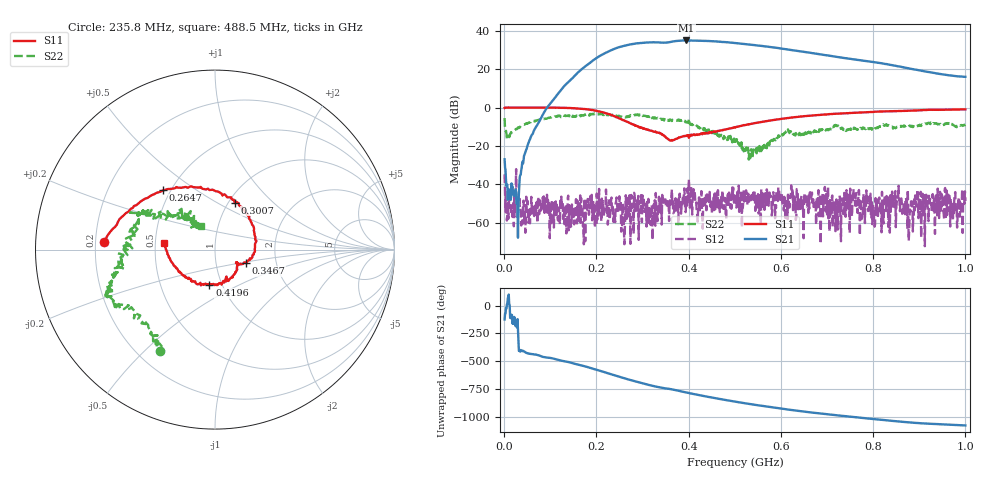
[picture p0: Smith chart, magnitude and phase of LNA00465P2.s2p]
! Created with skrf 1.9.0 (http://scikit-rf.org).
# Hz S RI R 50.0
!freq ReS11 ImS11 ReS21 ImS21 ReS12 ImS12 ReS22 ImS22
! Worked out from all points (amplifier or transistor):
!   1001 points, 1 MHz to 1 GHz, reference 50 ohm
!   highest |S21| = 35.0 dB at 394.6 MHz (marker M1)
!   |S21| within 3 dB of that: 256.7 MHz to 563 MHz (306.3 MHz wide, 74.7 % of centre)
!   unconditionally stable (mu >= 1): 24.07 MHz to 41.87 MHz; 221.3 MHz to 400.2 MHz; 401 MHz to end of sweep (the widest 3 of 40)
!   at 166.8 MHz: K = 0.64, MSG = 33.4 dB, |S12| = -47.1 dB
!   at 500.5 MHz: K = 1.86, MAG = 34.2 dB, |S12| = -45.3 dB
!   at 1 GHz: K = 3.54, MAG = 23.9 dB, |S12| = -48.6 dB
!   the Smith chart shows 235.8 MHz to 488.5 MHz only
!   S11 on the Smith chart (normalised r, x): 235.8 MHz: 0.24, +0.03; 264.7 MHz: 0.46, +0.37; 300.7 MHz: 1.07, +0.61; 346.7 MHz: 1.40, -0.22; 419.6 MHz: 0.87, -0.36; 488.5 MHz: 0.56, +0.04
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1000000  0.979 -0.00726  -0.0253 -0.0372  -0.0154 0.00995  0.3983 0.3508
1.08892e8  0.5213 -0.8471  -0.8091 -1.531  0.00275 -0.00192  0.4338 -0.374
1.67833e8  -0.2287 -0.9013  -9.934 -0.5693  0.000574 -0.00173  0.0417 -0.6363
2.06794e8  -0.6587 -0.4392  -16.02 15.04  0.000775 0.00196  -0.1705 -0.6462
2.35765e8  -0.6161 0.0436  -5.171 32.32  -0.00221 -0.000481  -0.3044 -0.5677
2.64736e8  -0.2897 0.3304  18.68 37.54  -0.00241 0.00131  -0.4456 -0.3498
2.82718e8  -0.0713 0.3396  34.15 30.85  -0.00528 -0.0015  -0.5659 -0.2831
3.007e8  0.1103 0.2613  45.01 18.33  1.86e-05 -0.00245  -0.5751 -0.1828
3.34666e8  0.222 -0.00145  48.81 -10.01  -0.00145 0.00111  -0.5107 -0.0297
3.46654e8  0.1723 -0.0743  45.78 -17.19  -0.00203 0.00339  -0.4603 0.00718
3.7063e8  0.1227 -0.0834  42.99 -32.47  -0.000492 0.00235  -0.4301 0.1605
3.94606e8  0.0802 -0.167  28.57 -48.19  0.0021 0.00425  -0.3837 0.1893
4.19581e8  -0.0311 -0.1957  9.286 -54.81  -0.000874 0.000615  -0.2614 0.2008
4.5055e8  -0.1823 -0.1414  -13.77 -52.02  -0.000459 0.00169  -0.1388 0.1655
4.88512e8  -0.2821 0.0351  -33.9 -36.19  0.00441 0.00308  -0.0773 0.1342
5.005e8  -0.2842 0.1  -37.92 -30.16  -0.00318 -0.00441  -0.114 0.1115
5.39461e8  -0.2323 0.3079  -41.85 -9.205  0.00428 -0.00237  -0.0748 0.00832
5.85415e8  -0.0574 0.4731  -35.37 9.889  0.00235 -0.00239  -0.1355 -0.0501
6.67333e8  0.3305 0.5267  -13.12 22.63  -0.00116 -0.006  -0.237 -0.048
7.52248e8  0.6239 0.3655  2.285 18.41  0.00306 -0.00369  -0.2565 0.0558
8.34166e8  0.7889 0.1331  8.688 9.93  -0.000647 -0.00387  -0.3313 0.0844
1e9  0.8053 -0.4029  6.308 0.5109  -0.0037 0.000311  -0.1475 0.323
